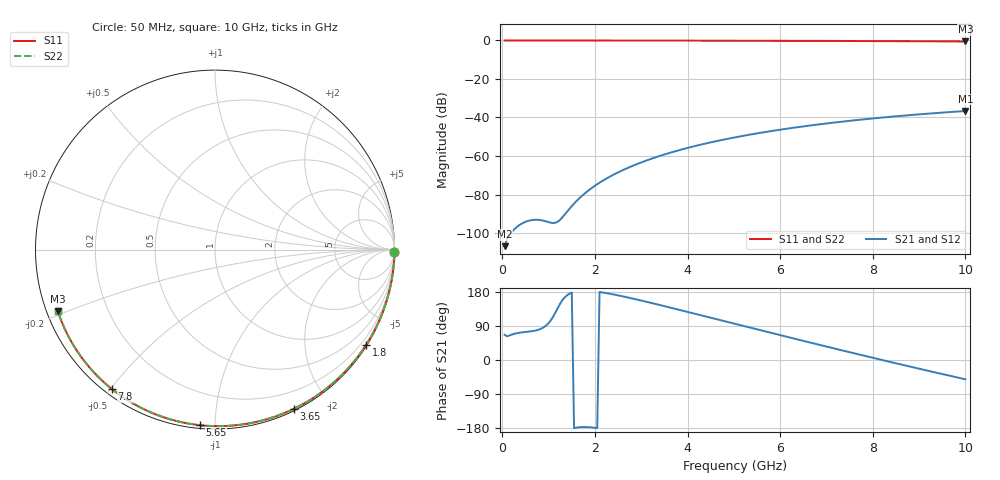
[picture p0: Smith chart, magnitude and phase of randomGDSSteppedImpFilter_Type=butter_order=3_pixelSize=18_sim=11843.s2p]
! freq	dB(S11)	phase(S11)	dB(S12)	phase(S12)
!  dB(S21)	phase(S21)	dB(S22)	phase(S22)
!S-par simulation data
#  GHz  S  DB  R 50
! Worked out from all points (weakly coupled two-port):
!   200 points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, 50 MHz to 10 GHz, reference 50 ohm
!   highest |S21| = -36.63 dB at 10 GHz (marker M1); lowest = -106.8 dB at 50 MHz (marker M2)
!   lowest |S11| = -0.5 dB at 10 GHz (marker M3), VSWR 32.57, Z = 1.59 - j9.4 ohm
!   |S11| at or under -10 dB: nowhere
!   |S22| runs from -0.5 to 0.0 dB; largest |S21 - S12| = 0
!   S11 on the Smith chart (normalised r, x): 50 MHz: open; 1.8 GHz: 0.03, -3.47; 3.65 GHz: 0.02, -1.61; 5.65 GHz: 0.02, -0.92; 7.8 GHz: 0.02, -0.50; 10 GHz: 0.03, -0.19
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0.05  -0.00 -0.9  -106.82 66.6  -106.82 66.6  -0.00 -0.9
0.45  -0.01 -8.2  -94.71 73.3  -94.71 73.3  -0.01 -8.2
0.9  -0.02 -16.3  -93.65 86.7  -93.65 86.7  -0.02 -16.3
1.75  -0.04 -31.3  -80.06 -176.9  -80.06 -176.9  -0.04 -31.3
1.8  -0.04 -32.2  -79.05 -177.0  -79.05 -177.0  -0.04 -32.2
1.95  -0.04 -34.8  -76.29 -178.2  -76.29 -178.2  -0.04 -34.8
2.1  -0.05 -37.4  -73.85 179.5  -73.85 179.5  -0.05 -37.4
2.3  -0.05 -40.9  -71.01 175.4  -71.01 175.4  -0.05 -40.9
2.5  -0.06 -44.3  -68.51 170.6  -68.51 170.6  -0.06 -44.3
2.9  -0.07 -51.1  -64.27 159.8  -64.27 159.8  -0.07 -51.1
3.4  -0.08 -59.4  -59.97 145.2  -59.97 145.2  -0.08 -59.4
3.65  -0.09 -63.6  -58.13 137.7  -58.13 137.7  -0.09 -63.6
4.3  -0.11 -74.1  -54.02 117.8  -54.02 117.8  -0.11 -74.0
5.05  -0.13 -85.8  -50.20 94.7  -50.20 94.7  -0.13 -85.8
5.65  -0.16 -95.0  -47.66 76.3  -47.66 76.3  -0.16 -95.0
6.15  -0.18 -102.5  -45.80 61.0  -45.80 61.0  -0.18 -102.5
6.7  -0.22 -110.6  -44.00 44.4  -44.00 44.4  -0.22 -110.6
7.25  -0.25 -118.6  -42.39 28.0  -42.39 28.0  -0.25 -118.6
7.8  -0.30 -126.6  -40.97 11.7  -40.97 11.7  -0.30 -126.6
8.35  -0.35 -134.5  -39.70 -4.3  -39.70 -4.3  -0.35 -134.5
9.2  -0.44 -146.8  -37.99 -28.6  -37.99 -28.6  -0.44 -146.8
10  -0.53 -158.7  -36.63 -50.9  -36.63 -50.9  -0.53 -158.7
